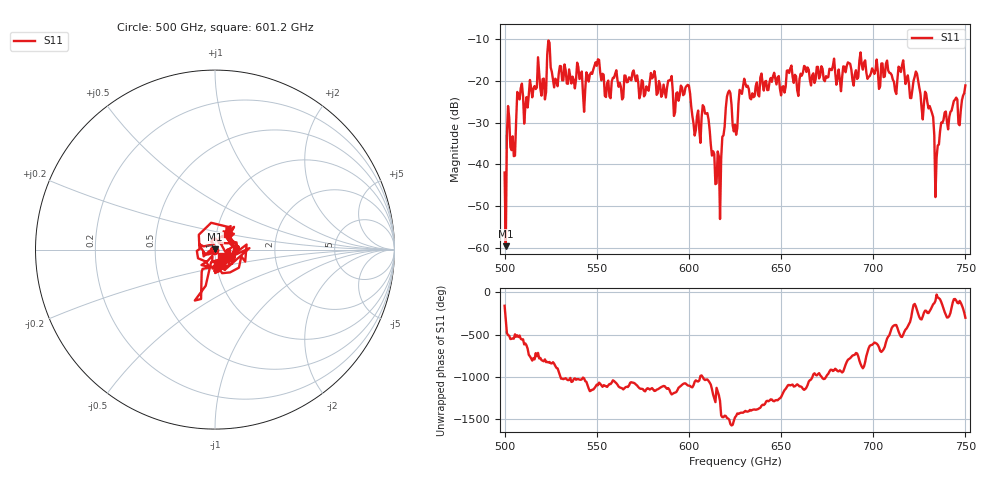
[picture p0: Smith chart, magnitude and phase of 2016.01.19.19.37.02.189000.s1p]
!Created with skrf (http://scikit-rf.org).
# GHz S RI R 50.0
!freq ReS11 ImS11
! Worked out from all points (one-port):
!   401 points, 500 GHz to 750 GHz, reference 50 ohm
!   lowest |S11| = -59.7 dB at 500.6 GHz (marker M1), VSWR 1.00, Z = 50.1 + j0.0758 ohm
!   |S11| at or under -10 dB: start of sweep to end of sweep
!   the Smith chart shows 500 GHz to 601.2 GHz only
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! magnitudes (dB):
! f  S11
! 500 GHz  -42.0
! 500.6 GHz  -59.7
! 502.5 GHz  -28.9
! 505 GHz  -38.1
! 508.1 GHz  -24.4
! 521.2 GHz  -19.5
! 524.4 GHz  -10.9
! 527.5 GHz  -19.5
! 531.2 GHz  -19.9
! 543.8 GHz  -22.1
! 550 GHz  -16.4
! 562.5 GHz  -20.5
! 580.6 GHz  -19.0
! 593.8 GHz  -22.7
! 599.4 GHz  -21.0
! 605 GHz  -27.1
! 608.8 GHz  -27.8
! 615.6 GHz  -36.9
! 621.2 GHz  -22.8
! 625 GHz  -30.5
! 630.6 GHz  -20.6
! 656.2 GHz  -19.0
! 687.5 GHz  -15.9
! 718.8 GHz  -18.7
! 729.4 GHz  -25.2
! 734.4 GHz  -38.4
! 738.1 GHz  -29.4
! 750 GHz  -21.1
